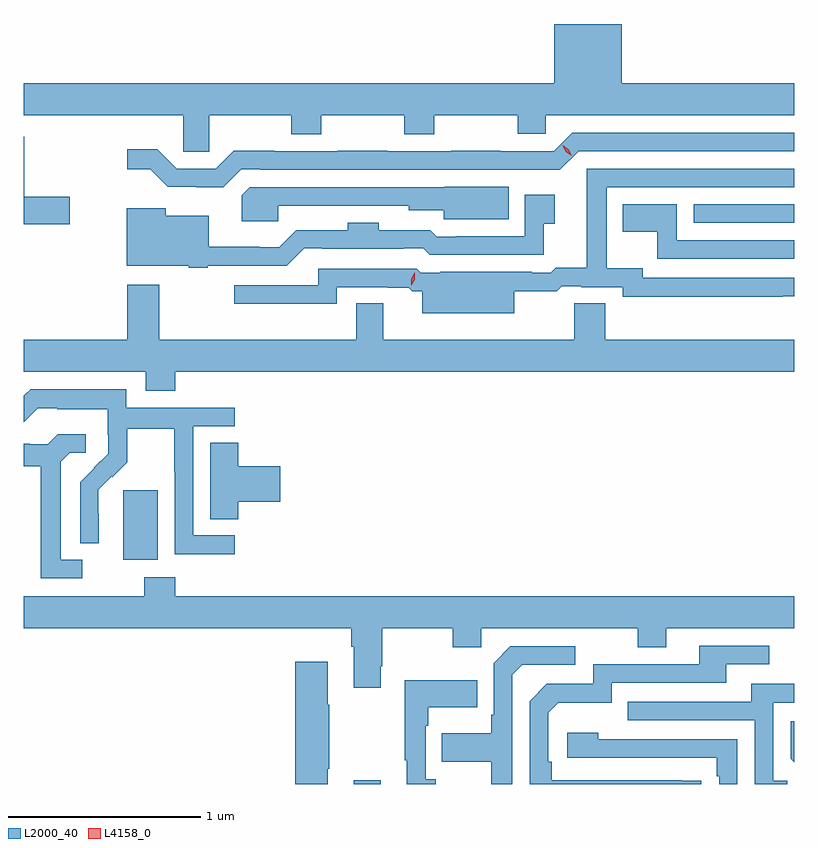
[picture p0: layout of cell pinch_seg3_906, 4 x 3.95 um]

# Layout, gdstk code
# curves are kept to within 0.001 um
import gdstk
lib = gdstk.Library(unit=1e-6, precision=1e-09)
def R(c, l, rs):  # rectangles x0, y0, x1, y1
    for r in rs: c.add(gdstk.rectangle(r[:2], r[2:], *l))
def P(c, l, *ps):  # polygons
    for p in ps: c.add(gdstk.Polygon(p, *l))
L2000_40 = (2000, 40)
L4158_0 = (4158, 0)

pinch_seg3_906 = lib.new_cell('pinch_seg3_906')
R(pinch_seg3_906, L2000_40, [(773.045,666.806,773.185,666.826), (771.848,667.97,772.027,668.331), (774.81,669.72,775.332,669.816)])
P(pinch_seg3_906, L2000_40, [(772.295,670.28),(772.72,670.28),(772.72,670.181),(772.875,670.181),(772.875,670.28),(773.308,670.28),(773.308,670.181),(773.463,670.181),(773.463,670.28),(773.896,670.28),(773.896,670.182),(774.042,670.182),(774.042,670.28),(775.332,670.28),(775.332,670.444),(774.436,670.444),(774.436,670.753),(774.086,670.753),(774.086,670.444),(771.332,670.444),(771.332,670.28),(772.159,670.28),(772.159,670.089),(772.295,670.089)],
  [(772.461,669.999),(772.561,669.999),(772.561,669.996),(774.116,669.995),(774.213,670.092),(775.332,670.092),(775.332,670.188),(774.18,670.188),(774.084,670.092),(773.807,670.092),(773.807,670.094),(773.551,670.094),(773.551,670.092),(773.219,670.092),(773.219,670.094),(772.963,670.094),(772.963,670.092),(772.631,670.092),(772.631,670.096),(772.423,670.096),(772.329,670.002),(772.125,670.002),(772.025,670.102),(771.87,670.102),(771.87,669.999),(771.987,669.999),(772.078,669.908),(772.227,669.908),(772.227,669.906),(772.368,669.906)],
  [(771.571,669.855),(771.335,669.855),(771.335,670.168),(771.332,670.168),(771.332,669.713),(771.571,669.713)],
  [(773.878,669.364),(774.1,669.364),(774.126,669.39),(774.226,669.39),(774.226,669.387),(774.443,669.387),(774.443,669.337),(775.274,669.337),(775.274,669.339),(775.332,669.339),(775.332,669.435),(774.547,669.435),(774.547,669.485),(774.358,669.485),(774.358,669.906),(775.332,669.906),(775.332,670.002),(774.254,670.002),(774.254,669.488),(774.095,669.488),(774.069,669.462),(773.969,669.462),(773.969,669.466),(773.494,669.466),(773.494,669.462),(773.394,669.462),(773.373,669.483),(772.86,669.483),(772.86,669.396),(772.425,669.396),(772.425,669.299),(772.956,669.299),(772.956,669.387),(773.222,669.387),(773.222,669.383),(773.33,669.383),(773.348,669.364),(773.402,669.364),(773.402,669.251),(773.878,669.251)],
  [(772.653,669.81),(773.331,669.81),(773.331,669.785),(773.513,669.785),(773.513,669.74),(773.849,669.74),(773.849,669.907),(772.506,669.906),(772.464,669.863),(772.464,669.729),(772.653,669.729)],
  [(772.287,669.498),(772.698,669.498),(772.788,669.588),(772.882,669.588),(772.882,669.585),(773.306,669.585),(773.306,669.588),(773.406,669.588),(773.439,669.555),(774.033,669.555),(774.033,669.716),(774.088,669.716),(774.088,669.865),(773.934,669.865),(773.934,669.651),(773.575,669.651),(773.575,669.648),(773.475,669.648),(773.442,669.681),(773.174,669.681),(773.174,669.721),(773.014,669.721),(773.014,669.682),(772.747,669.682),(772.658,669.593),(772.556,669.593),(772.556,669.595),(772.291,669.595),(772.291,669.757),(772.069,669.757),(772.069,669.796),(771.866,669.796),(771.866,669.497),(772.187,669.497),(772.187,669.486),(772.287,669.486)],
  [(775.332,669.63),(774.723,669.63),(774.723,669.817),(774.443,669.817),(774.443,669.674),(774.622,669.674),(774.622,669.534),(775.332,669.534)],
  [(772.118,668.948),(775.332,668.948),(775.332,669.112),(774.35,669.112),(774.35,669.302),(774.19,669.302),(774.19,669.112),(773.197,669.112),(773.197,669.302),(773.057,669.302),(773.057,669.112),(772.034,669.112),(772.034,669.4),(771.869,669.4),(771.869,669.112),(771.332,669.112),(771.332,668.948),(771.965,668.948),(771.965,668.849),(772.118,668.849)],
  [(772.426,668.097),(772.212,668.097),(772.212,668.664),(772.426,668.664),(772.426,668.76),(771.864,668.76),(771.864,668.857),(771.367,668.857),(771.332,668.822),(771.332,668.684),(771.405,668.757),(771.505,668.757),(771.505,668.753),(771.768,668.753),(771.768,668.619),(771.77,668.619),(771.77,668.522),(771.624,668.374),(771.624,668.056),(771.72,668.056),(771.719,668.333),(771.789,668.403),(771.792,668.4),(771.869,668.477),(771.869,668.652),(772.114,668.652),(772.114,668.428),(772.116,668.428),(772.116,667.999),(772.426,667.999)],
  [(771.634,667.971),(771.523,667.971),(771.523,668.479),(771.57,668.526),(771.652,668.526),(771.652,668.623),(771.508,668.623),(771.456,668.571),(771.362,668.571),(771.362,668.574),(771.332,668.574),(771.332,668.456),(771.419,668.456),(771.419,667.875),(771.634,667.875)],
  [(772.445,668.273),(772.663,668.273),(772.663,668.456),(772.445,668.456),(772.445,668.579),(772.301,668.579),(772.301,668.182),(772.445,668.182)],
  [(773.185,667.417),(773.193,667.417),(773.193,667.616),(773.56,667.616),(773.56,667.517),(773.706,667.517),(773.706,667.616),(774.52,667.616),(774.52,667.517),(774.667,667.517),(774.667,667.616),(775.332,667.616),(775.332,667.78),(772.118,667.78),(772.118,667.879),(771.958,667.879),(771.958,667.78),(771.332,667.78),(771.332,667.616),(773.033,667.616),(773.033,667.52),(773.045,667.52),(773.045,667.305),(773.185,667.305)],
  [(774.851,666.824),(774.074,666.825),(774.074,666.922),(774.054,666.922),(774.054,667.176),(774.107,667.229),(774.384,667.229),(774.384,667.332),(774.979,667.332),(774.979,667.428),(775.204,667.428),(775.204,667.524),(774.839,667.524),(774.839,667.428),(774.288,667.428),(774.288,667.326),(774.048,667.326),(773.958,667.236),(773.958,666.806),(774.851,666.806)],
  [(773.868,667.374),(773.919,667.425),(774.196,667.425),(774.196,667.521),(773.859,667.521),(773.772,667.434),(773.772,667.165),(773.76,667.165),(773.76,667.069),(773.503,667.069),(773.503,666.922),(773.76,666.922),(773.76,666.806),(773.868,666.806)],
  [(772.909,666.886),(772.917,666.886),(772.917,667.217),(772.909,667.217),(772.909,667.441),(772.742,667.441),(772.742,666.806),(772.909,666.806)],
  [(773.47,666.83),(773.418,666.83),(773.418,667.109),(773.431,667.109),(773.431,667.205),(773.687,667.205),(773.687,667.345),(773.31,667.345),(773.31,666.929),(773.321,666.929),(773.321,666.806),(773.47,666.806)],
  [(775.297,666.822),(775.224,666.822),(775.224,667.227),(775.332,667.227),(775.332,667.327),(775.109,667.327),(775.109,667.233),(774.469,667.233),(774.469,667.137),(775.128,667.137),(775.128,666.806),(775.297,666.806)],
  [(775.332,667.132),(775.314,667.132),(775.314,666.938),(775.332,666.92)],
  [(775.038,667.038),(774.314,667.038),(774.314,667.072),(774.153,667.072),(774.153,666.942),(774.929,666.942),(774.929,666.845),(774.942,666.845),(774.942,666.806),(775.038,666.806)])
P(pinch_seg3_906, L4158_0, [(773.344,669.395),(773.344,669.395),(773.343,669.431),(773.361,669.462),(773.362,669.462),(773.362,669.462),(773.362,669.426),(773.344,669.395)],
  [(774.176,670.068),(774.145,670.09),(774.13,670.123),(774.13,670.124),(774.13,670.124),(774.16,670.102),(774.176,670.068),(774.176,670.068)])

lib.write_gds('pinch_seg3_906.gds')
